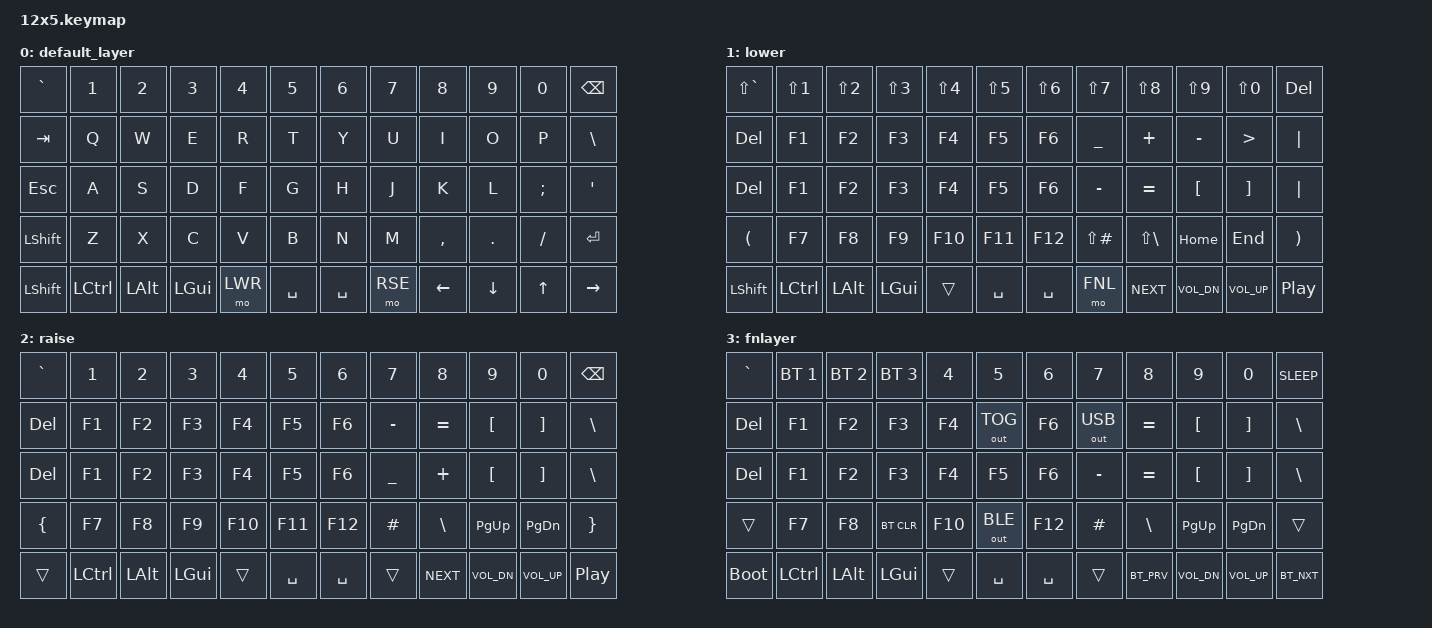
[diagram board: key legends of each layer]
/*
 * Copyright (c) 2020 The ZMK Contributors
 *
 * SPDX-License-Identifier: MIT
 */

#include <behaviors.dtsi>
#include <dt-bindings/zmk/keys.h>
#include <dt-bindings/zmk/bt.h>
#include <dt-bindings/zmk/outputs.h>

#define DEFAULT 0
#define LWR     1
#define RSE     2
#define FNL     3

/ {
    keymap {
        compatible = "zmk,keymap";

        default_layer {
            /* Qwerty
            * ,-----------------------------------------------------------------------------------.
            * |   `  |   1  |   2  |   3  |   4  |   5  |   6  |   7  |   8  |   9  |   0  | Bksp |
            * |------+------+------+------+------+------+------+------+------+------+------+------|
            * | Tab  |   Q  |   W  |   E  |   R  |   T  |   Y  |   U  |   I  |   O  |   P  | BSLH |
            * |------+------+------+------+------+-------------+------+------+------+------+------|
            * | Esc  |   A  |   S  |   D  |   F  |   G  |   H  |   J  |   K  |   L  |   ;  |  "   |
            * |------+------+------+------+------+------|------+------+------+------+------+------|
            * | Shift|   Z  |   X  |   C  |   V  |   B  |   N  |   M  |   ,  |   .  |   /  |Enter |
            * |------+------+------+------+------+------+------+------+------+------+------+------|
            * | Shift| Ctrl | Alt  | GUI  |Lower |    Space    |Raise | Left | Down |  Up  |Right |
            * `-----------------------------------------------------------------------------------'
            */
            bindings = <
                &kp GRAVE  &kp N1     &kp N2    &kp N3     &kp N4  &kp N5     &kp N6    &kp N7  &kp N8    &kp N9    &kp N0    &kp BSPC
                &kp TAB    &kp Q      &kp W     &kp E      &kp R   &kp T      &kp Y     &kp U   &kp I     &kp O     &kp P     &kp BSLH
                &kp ESC    &kp A      &kp S     &kp D      &kp F   &kp G      &kp H     &kp J   &kp K     &kp L     &kp SEMI  &kp SQT
                &kp LSHFT  &kp Z      &kp X     &kp C      &kp V   &kp B      &kp N     &kp M   &kp COMMA &kp DOT   &kp FSLH  &kp RET
                &kp LSHFT  &kp LCTRL  &kp LALT  &kp LGUI   &mo LWR &kp SPACE  &kp SPACE &mo RSE &kp LEFT  &kp DOWN  &kp UP    &kp RIGHT
            >;
        };

        lower {
            /* Lower (mo 1)
            * ,-----------------------------------------------------------------------------------.
            * |   ~  |   !  |   @  |   #  |   $  |   %  |   ^  |   &  |   *  |   (  |   )  | Bksp |
            * |------+------+------+------+------+-------------+------+------+------+------+------|
            * |   ~  |   !  |   @  |   #  |   $  |   %  |   ^  |   &  |   *  |   =  |   >  | Del  |
            * |------+------+------+------+------+-------------+------+------+------+------+------|
            * | Del  |  F1  |  F2  |  F3  |  F4  |  F5  |  F6  |   -  |   =  |   {  |   }  |  |   |
            * |------+------+------+------+------+------|------+------+------+------+------+------|
            * |   (  |  F7  |  F8  |  F9  |  F10 |  F11 |  F12 |ISO ~ | MS_BL| MS_BR|      |   )  |
            * |------+------+------+------+------+------+------+------+------+------+------+------|
            * |      |      |      |      |      |             |      | MS_L | MS_D | MS_U | MS_R |
            * `-----------------------------------------------------------------------------------'
            */
            bindings = <
                &kp LS(GRAVE) &kp LS(N1) &kp LS(N2) &kp LS(N3) &kp LS(N4) &kp LS(N5) &kp LS(N6) &kp LS(N7)   &kp LS(N8)   &kp LS(N9)   &kp LS(N0)   &kp DEL
                &kp DEL       &kp F1     &kp F2     &kp F3     &kp F4     &kp F5     &kp F6     &kp UNDER    &kp PLUS     &kp MINUS    &kp GT       &kp PIPE
                &kp DEL       &kp F1     &kp F2     &kp F3     &kp F4     &kp F5     &kp F6     &kp MINUS    &kp EQUAL    &kp LBKT     &kp RBKT     &kp PIPE
                &kp LPAR      &kp F7     &kp F8     &kp F9     &kp F10    &kp F11    &kp F12    &kp LS(HASH) &kp LS(BSLH) &kp HOME     &kp END      &kp RPAR
                &kp LSHFT     &kp LCTRL  &kp LALT   &kp LGUI   &trans     &kp SPACE  &kp SPACE  &mo FNL      &kp C_NEXT   &kp C_VOL_DN &kp C_VOL_UP &kp C_PP
            >;
        };

        raise {
            /* Raise (mo 2)
            * ,-----------------------------------------------------------------------------------.
            * |   ~  |   1  |   2  |   3  |   4  |   5  |   6  |   7  |   8  |   9  |   0  | Bksp |
            * |------+------+------+------+------+------+------+------+------+------+------+------|
            * |   `  |   1  |   2  |   3  |   4  |   5  |   6  |   7  |   8  |   <  |   >  | Del  |
            * |------+------+------+------+------+-------------+------+------+------+------+------|
            * | Del  |  F1  |  F2  |  F3  |  F4  |  F5  |  F6  |   _  |   +  |   [  |   ]  |  \   |
            * |------+------+------+------+------+------|------+------+------+------+------+------|
            * |   {  |  F7  |  F8  |  F9  |  F10 |  F11 |  F12 |ISO # | PG_DN| PG_UP|      |  }   |
            * |------+------+------+------+------+------+------+------+------+------+------+------|
            * |      |      |      |      |      |             |      | Next | Vol- | Vol+ | Play |
            * `-----------------------------------------------------------------------------------'
            */
            bindings = < 
                &kp GRAVE     &kp N1     &kp N2     &kp N3     &kp N4     &kp N5     &kp N6     &kp N7       &kp N8       &kp N9         &kp N0         &kp BSPC
                &kp DEL       &kp F1     &kp F2     &kp F3     &kp F4     &kp F5     &kp F6     &kp MINUS    &kp EQUAL    &kp LBKT       &kp RBKT       &kp BSLH
                &kp DEL       &kp F1     &kp F2     &kp F3     &kp F4     &kp F5     &kp F6     &kp UNDER    &kp PLUS     &kp LBKT       &kp RBKT       &kp BSLH
                &kp LBRC      &kp F7     &kp F8     &kp F9     &kp F10    &kp F11    &kp F12    &kp HASH     &kp BSLH     &kp PG_UP      &kp PG_DN      &kp RBRC
                &trans        &kp LCTRL  &kp LALT   &kp LGUI   &trans     &kp SPACE  &kp SPACE  &trans       &kp C_NEXT   &kp C_VOL_DN   &kp C_VOL_UP   &kp C_PP
            >;
        };
        fnlayer {
            /* Function Layer (mo 3)
            * ,-----------------------------------------------------------------------------------.
            * |   ~  |   1  |   2  |   3  |   4  |   5  |   6  |   7  |   8  |   9  |   0  | Bksp |
            * |------+------+------+------+------+------+------+------+------+------+------+------|
            * |   `  |   1  |   2  |   3  |   4  |   5  |   6  |   7  |   8  |   <  |   >  | Del  |
            * |------+------+------+------+------+-------------+------+------+------+------+------|Z
            * | Del  |  F1  |  F2  |  F3  |  F4  |  F5  |  F6  |   _  |   +  |   [  |   ]  |  \   |
            * |------+------+------+------+------+------|------+------+------+------+------+------|
            * |   {  |  F7  |  F8  |  F9  |  F10 |  F11 |  F12 |ISO # | PG_DN| PG_UP|      |  }   |
            * |------+------+------+------+------+------+------+------+------+------+------+------|
            * |      |      |      |      |      |             |      | Next | Vol- | Vol+ | Play |
            * `-----------------------------------------------------------------------------------'
            */
            bindings = < 
                &kp GRAVE     &bt BT_SEL 1  &bt BT_SEL 2  &bt BT_SEL 3  &kp N4     &kp N5       &kp N6     &kp N7       &kp N8       &kp N9         &kp N0         &kp K_SLEEP
                &kp DEL       &kp F1        &kp F2        &kp F3        &kp F4     &out OUT_TOG &kp F6     &out OUT_USB &kp EQUAL    &kp LBKT       &kp RBKT       &kp BSLH
                &kp DEL       &kp F1        &kp F2        &kp F3        &kp F4     &kp F5       &kp F6     &kp MINUS    &kp EQUAL    &kp LBKT       &kp RBKT       &kp BSLH
                &trans        &kp F7        &kp F8        &bt BT_CLR    &kp F10    &out OUT_BLE &kp F12    &kp HASH     &kp BSLH     &kp PG_UP      &kp PG_DN      &trans
                &bootloader   &kp LCTRL     &kp LALT      &kp LGUI      &trans     &kp SPACE    &kp SPACE  &trans       &kp BT_PRV   &kp C_VOL_DN   &kp C_VOL_UP   &kp BT_NXT
            >;
        };
    };
};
